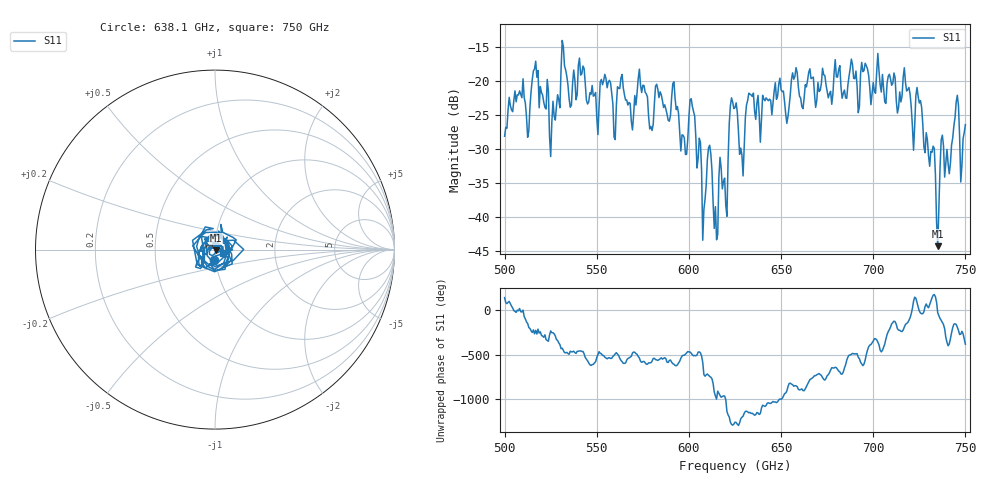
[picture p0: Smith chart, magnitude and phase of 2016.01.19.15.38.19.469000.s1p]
!Created with skrf (http://scikit-rf.org).
# GHz S RI R 50.0
!freq ReS11 ImS11
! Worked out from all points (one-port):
!   401 points, 500 GHz to 750 GHz, reference 50 ohm
!   lowest |S11| = -44.3 dB at 735 GHz (marker M1), VSWR 1.01, Z = 50.5 - j0.312 ohm
!   |S11| at or under -10 dB: start of sweep to end of sweep
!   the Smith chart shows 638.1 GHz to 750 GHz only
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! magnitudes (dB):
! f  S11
! 500 GHz  -28.1
! 508.8 GHz  -21.9
! 512.5 GHz  -28.3
! 516.9 GHz  -17.1
! 525.6 GHz  -26.0
! 531.2 GHz  -14.0
! 550 GHz  -25.3
! 555.6 GHz  -21.0
! 559.4 GHz  -28.2
! 562.5 GHz  -21.1
! 593.8 GHz  -23.7
! 598.1 GHz  -30.8
! 601.9 GHz  -23.7
! 608.1 GHz  -38.9
! 611.2 GHz  -29.4
! 614.4 GHz  -38.5
! 625 GHz  -23.9
! 628.8 GHz  -30.8
! 632.5 GHz  -21.8
! 653.1 GHz  -26.2
! 656.2 GHz  -18.8
! 687.5 GHz  -18.2
! 718.8 GHz  -21.2
! 725 GHz  -23.2
! 735 GHz  -44.3
! 745 GHz  -23.1
! 748.1 GHz  -32.4
! 750 GHz  -26.4
